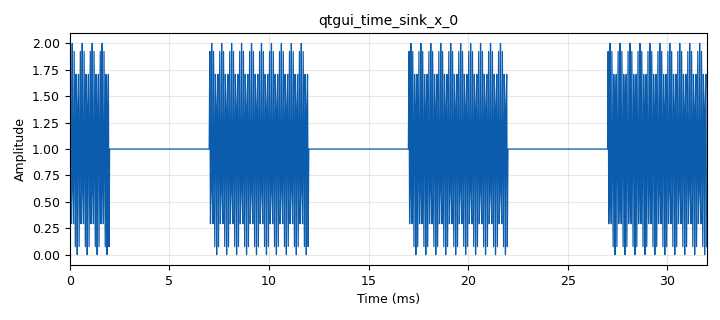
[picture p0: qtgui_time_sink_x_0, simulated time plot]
options:
  parameters:
    generate_options: qt_gui
    id: OnOffKeying
    output_language: python
    title: On Off Keying
  states: {}

blocks:
- name: carrier_freq
  id: variable_qtgui_range
  parameters:
    orient: Qt.Horizontal
    start: '10000'
    step: '1'
    stop: '100000'
    value: '10000'
  states: {}
- name: modulating_freq
  id: variable_qtgui_range
  parameters:
    orient: Qt.Horizontal
    start: '10'
    step: '1'
    stop: '1000'
    value: '100'
  states: {}
- name: samp_rate
  id: variable
  parameters:
    value: '32000'
  states: {}
- name: analog_sig_source_x_0
  id: analog_sig_source_x
  parameters:
    alias: Carrier
    amp: '1'
    freq: carrier_freq
    offset: '0'
    phase: '0'
    samp_rate: samp_rate
    type: float
    waveform: analog.GR_SIN_WAVE
  states: {}
- name: analog_sig_source_x_1
  id: analog_sig_source_x
  parameters:
    amp: '1'
    freq: modulating_freq
    offset: '0'
    phase: '0'
    samp_rate: samp_rate
    type: float
    waveform: analog.GR_SQR_WAVE
  states: {}
- name: blocks_add_const_vxx_0
  id: blocks_add_const_vxx
  parameters:
    const: '1'
    type: float
  states: {}
- name: blocks_multiply_xx_0
  id: blocks_multiply_xx
  parameters:
    type: float
  states: {}
- name: qtgui_time_sink_x_0
  id: qtgui_time_sink_x
  parameters:
    autoscale: 'True'
    size: '1024'
    srate: samp_rate
    type: float
  states: {}

connections:
- [analog_sig_source_x_0, '0', blocks_multiply_xx_0, '0']
- [analog_sig_source_x_1, '0', blocks_multiply_xx_0, '1']
- [blocks_add_const_vxx_0, '0', qtgui_time_sink_x_0, '0']
- [blocks_multiply_xx_0, '0', blocks_add_const_vxx_0, '0']

metadata:
  file_format: 1
